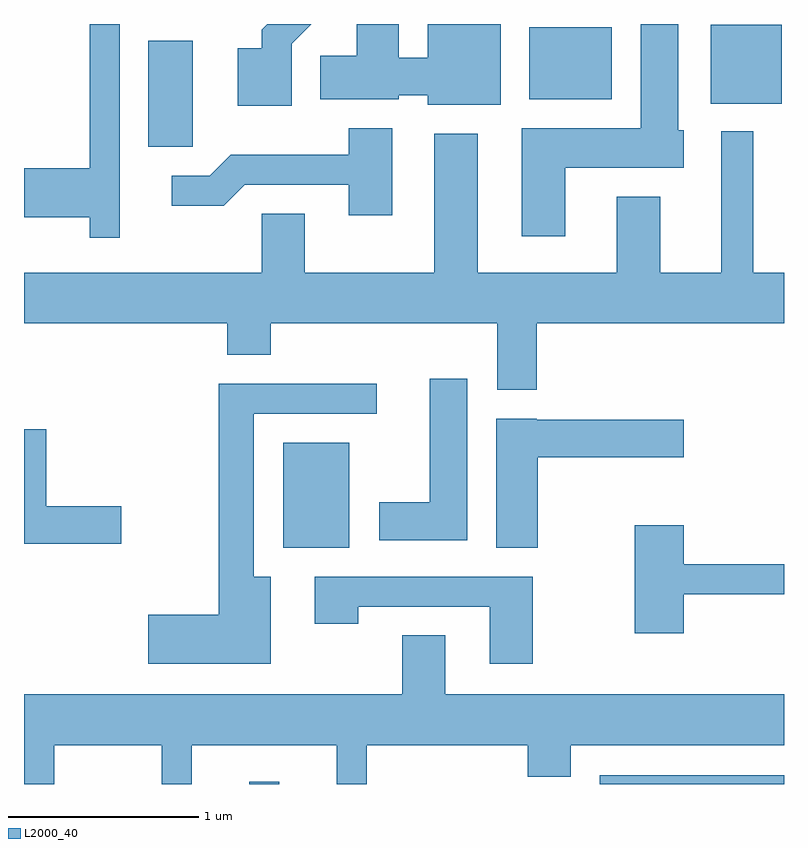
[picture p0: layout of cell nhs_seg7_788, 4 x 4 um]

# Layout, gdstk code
import gdstk
lib = gdstk.Library(unit=1e-6, precision=1e-09)
def R(c, l, rs):  # rectangles x0, y0, x1, y1
    for r in rs: c.add(gdstk.rectangle(r[:2], r[2:], *l))
def P(c, l, *ps):  # polygons
    for p in ps: c.add(gdstk.Polygon(p, *l))
L2000_40 = (2000, 40)

nhs_seg7_788 = lib.new_cell('nhs_seg7_788')
R(nhs_seg7_788, L2000_40, [(208.796,1796.252,208.954,1796.263), (210.641,1796.252,211.611,1796.299), (208.976,1797.496,209.324,1798.049), (208.266,1799.606,208.499,1800.164), (211.226,1799.831,211.599,1800.249), (210.271,1799.856,210.704,1800.234)])
P(nhs_seg7_788, L2000_40, [(209.019,1800.149),(209.122,1800.252),(208.891,1800.252),(208.861,1800.222),(208.861,1800.124),(208.736,1800.124),(208.736,1799.821),(209.019,1799.821)],
  [(210.119,1800.252),(209.736,1800.252),(209.736,1800.074),(209.584,1800.074),(209.584,1800.252),(209.361,1800.252),(209.361,1800.084),(209.171,1800.084),(209.171,1799.856),(209.584,1799.856),(209.584,1799.876),(209.736,1799.876),(209.736,1799.826),(210.119,1799.826)],
  [(210.459,1799.496),(211.084,1799.496),(211.084,1799.694),(211.054,1799.694),(211.054,1800.252),(210.856,1800.252),(210.856,1799.704),(210.231,1799.704),(210.231,1799.136),(210.459,1799.136)],
  [(208.114,1800.252),(207.956,1800.252),(207.956,1799.494),(207.611,1799.494),(207.611,1799.236),(207.956,1799.236),(207.956,1799.128),(208.114,1799.128)],
  [(209.549,1799.704),(209.321,1799.704),(209.321,1799.564),(208.699,1799.564),(208.589,1799.454),(208.388,1799.454),(208.388,1799.296),(208.662,1799.296),(208.772,1799.406),(209.321,1799.406),(209.321,1799.246),(209.549,1799.246)],
  [(210.309,1798.676),(211.611,1798.676),(211.611,1798.944),(211.449,1798.944),(211.449,1799.688),(211.281,1799.688),(211.281,1798.944),(210.959,1798.944),(210.959,1799.344),(210.731,1799.344),(210.731,1798.944),(209.999,1798.944),(209.999,1799.674),(209.771,1799.674),(209.771,1798.944),(209.089,1798.944),(209.089,1799.254),(208.861,1799.254),(208.861,1798.944),(207.611,1798.944),(207.611,1798.676),(208.681,1798.676),(208.681,1798.511),(208.909,1798.511),(208.909,1798.676),(210.101,1798.676),(210.101,1798.326),(210.309,1798.326)],
  [(209.944,1798.384),(209.746,1798.384),(209.746,1797.734),(209.481,1797.734),(209.481,1797.536),(209.944,1797.536)],
  [(208.909,1797.344),(208.819,1797.344),(208.819,1798.201),(209.468,1798.201),(209.468,1798.359),(208.636,1798.359),(208.636,1797.144),(208.266,1797.144),(208.266,1796.886),(208.909,1796.886)],
  [(210.314,1797.971),(211.084,1797.971),(211.084,1798.169),(210.31,1798.169),(210.31,1798.174),(210.096,1798.174),(210.096,1797.496),(210.314,1797.496)],
  [(208.124,1797.714),(207.729,1797.714),(207.729,1798.119),(207.611,1798.119),(207.611,1797.516),(208.124,1797.516)],
  [(211.084,1797.251),(211.611,1797.251),(211.611,1797.409),(211.084,1797.409),(211.084,1797.614),(210.826,1797.614),(210.826,1797.046),(211.084,1797.046)],
  [(210.289,1797.344),(209.141,1797.344),(209.141,1797.096),(209.369,1797.096),(209.369,1797.186),(210.061,1797.186),(210.061,1796.886),(210.289,1796.886)],
  [(207.769,1796.456),(208.336,1796.456),(208.336,1796.252),(208.494,1796.252),(208.494,1796.456),(209.256,1796.456),(209.256,1796.252),(209.414,1796.252),(209.414,1796.456),(210.261,1796.456),(210.261,1796.291),(210.489,1796.291),(210.489,1796.456),(211.611,1796.456),(211.611,1796.724),(209.829,1796.724),(209.829,1797.034),(209.601,1797.034),(209.601,1796.724),(207.611,1796.724),(207.611,1796.252),(207.769,1796.252)])

lib.write_gds('nhs_seg7_788.gds')
